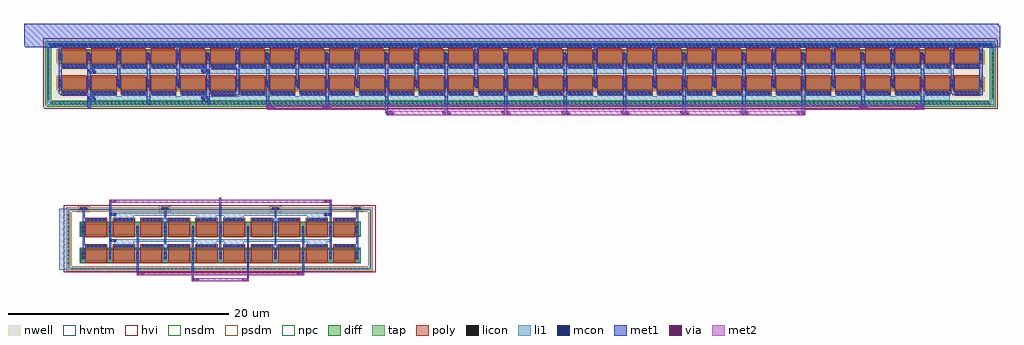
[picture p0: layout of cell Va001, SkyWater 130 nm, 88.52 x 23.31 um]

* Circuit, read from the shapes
.subckt Va001 VDD VSS
XM1 Nmos_uppper_current_mirror_2/IB VSS VSS VSS sky130_fd_pr__nfet_g5v0d10v5 w=1 l=2 m=4
XM2 Nmos_uppper_current_mirror_2/ID Nmos_uppper_current_mirror_2/IB Nmos_uppper_current_mirror_2/IB VSS sky130_fd_pr__nfet_g5v0d10v5 w=1 l=2 m=4
XM3 VSS VSS Nmos_uppper_current_mirror_2/ID VSS sky130_fd_pr__nfet_g5v0d10v5 w=1 l=2 m=4
XM4 Nmos_uppper_current_mirror_2/IC VSS VSS VSS sky130_fd_pr__nfet_g5v0d10v5 w=1 l=2 m=4
XM5 Nmos_uppper_current_mirror_2/IA Nmos_uppper_current_mirror_2/IB Nmos_uppper_current_mirror_2/IC VSS sky130_fd_pr__nfet_g5v0d10v5 w=1 l=2 m=4
XM6 Pmos_current_mirror_0/IA VDD VDD VDD sky130_fd_pr__pfet_g5v0d10v5 w=1.145 l=2.315 m=4
XM7 VDD Pmos_current_mirror_0/IA Pmos_current_mirror_0/IA VDD sky130_fd_pr__pfet_g5v0d10v5 w=1.145 l=2.315 m=4
XM8 Pmos_current_mirror_0/IB Pmos_current_mirror_0/IA VDD VDD sky130_fd_pr__pfet_g5v0d10v5 w=1.145 l=2.315 m=4
XM9 Pmos_current_mirror_0/IC Pmos_current_mirror_0/IA VDD VDD sky130_fd_pr__pfet_g5v0d10v5 w=1.145 l=2.315 m=16
XM10 Pmos_current_mirror_0/ID Pmos_current_mirror_0/IA VDD VDD sky130_fd_pr__pfet_g5v0d10v5 w=1.145 l=2.315 m=32
XM11 VDD VDD VDD VDD sky130_fd_pr__pfet_g5v0d10v5 w=1.145 l=2.315 m=2
.ends

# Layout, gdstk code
from math import pi, radians
import gdstk
lib = gdstk.Library(unit=1e-6, precision=1e-09)
def R(c, l, rs):  # rectangles x0, y0, x1, y1
    for r in rs: c.add(gdstk.rectangle(r[:2], r[2:], *l))
def A(c, l, x, y, w, h, nx, ny, dx, dy):  # array of equal rectangles
    R(c, l, [(x+i*dx, y+j*dy, x+i*dx+w, y+j*dy+h) for i in range(nx) for j in range(ny)])
def P(c, l, *ps):  # polygons
    for p in ps: c.add(gdstk.Polygon(p, *l))
nwell = (64, 20)
diff = (65, 20)
tap = (65, 44)
poly = (66, 20)
licon = (66, 44)
li1 = (67, 20)
mcon = (67, 44)
met1 = (68, 20)
via = (68, 44)
met2 = (69, 20)
hvi = (75, 20)
nsdm = (93, 44)
psdm = (94, 20)
npc = (95, 20)
hvntm = (125, 20)

vias_gen = lib.new_cell('vias_gen')
R(vias_gen, li1, [(0,0,0.66,0.26)])
R(vias_gen, mcon, [(0.065,0.045,0.235,0.215), (0.425,0.045,0.595,0.215)])
R(vias_gen, met1, [(0,0,0.66,0.26)])

pfet = lib.new_cell('pfet')
R(pfet, nwell, [(-0.465,-0.88,84.265,1.54)])
R(pfet, diff, [(0,0,83.8,1)])
A(pfet, poly, 0.3, -0.53, 2.2, 0.33, 31, 1, 2.7, 0)
A(pfet, poly, 0.3, -0.2, 2.2, 1.4, 31, 1, 2.7, 0)
A(pfet, licon, 0.415, -0.45, 0.17, 0.17, 6, 1, 0.36, 0)
A(pfet, licon, 3.115, -0.45, 0.17, 0.17, 6, 1, 0.36, 0)
A(pfet, licon, 5.815, -0.45, 0.17, 0.17, 6, 1, 0.36, 0)
A(pfet, licon, 8.515, -0.45, 0.17, 0.17, 6, 1, 0.36, 0)
A(pfet, licon, 11.215, -0.45, 0.17, 0.17, 6, 1, 0.36, 0)
A(pfet, licon, 13.915, -0.45, 0.17, 0.17, 6, 1, 0.36, 0)
A(pfet, licon, 16.615, -0.45, 0.17, 0.17, 6, 1, 0.36, 0)
A(pfet, licon, 19.315, -0.45, 0.17, 0.17, 6, 1, 0.36, 0)
A(pfet, licon, 22.015, -0.45, 0.17, 0.17, 6, 1, 0.36, 0)
A(pfet, licon, 24.715, -0.45, 0.17, 0.17, 6, 1, 0.36, 0)
A(pfet, licon, 27.415, -0.45, 0.17, 0.17, 6, 1, 0.36, 0)
A(pfet, licon, 30.115, -0.45, 0.17, 0.17, 6, 1, 0.36, 0)
A(pfet, licon, 32.815, -0.45, 0.17, 0.17, 6, 1, 0.36, 0)
A(pfet, licon, 35.515, -0.45, 0.17, 0.17, 6, 1, 0.36, 0)
A(pfet, licon, 38.215, -0.45, 0.17, 0.17, 6, 1, 0.36, 0)
A(pfet, licon, 40.915, -0.45, 0.17, 0.17, 6, 1, 0.36, 0)
A(pfet, licon, 43.615, -0.45, 0.17, 0.17, 6, 1, 0.36, 0)
A(pfet, licon, 46.315, -0.45, 0.17, 0.17, 6, 1, 0.36, 0)
A(pfet, licon, 49.015, -0.45, 0.17, 0.17, 6, 1, 0.36, 0)
A(pfet, licon, 51.715, -0.45, 0.17, 0.17, 6, 1, 0.36, 0)
A(pfet, licon, 54.415, -0.45, 0.17, 0.17, 6, 1, 0.36, 0)
A(pfet, licon, 57.115, -0.45, 0.17, 0.17, 6, 1, 0.36, 0)
A(pfet, licon, 59.815, -0.45, 0.17, 0.17, 6, 1, 0.36, 0)
A(pfet, licon, 62.515, -0.45, 0.17, 0.17, 6, 1, 0.36, 0)
A(pfet, licon, 65.215, -0.45, 0.17, 0.17, 6, 1, 0.36, 0)
A(pfet, licon, 67.915, -0.45, 0.17, 0.17, 6, 1, 0.36, 0)
A(pfet, licon, 70.615, -0.45, 0.17, 0.17, 6, 1, 0.36, 0)
A(pfet, licon, 73.315, -0.45, 0.17, 0.17, 6, 1, 0.36, 0)
A(pfet, licon, 76.015, -0.45, 0.17, 0.17, 6, 1, 0.36, 0)
A(pfet, licon, 78.715, -0.45, 0.17, 0.17, 6, 1, 0.36, 0)
A(pfet, licon, 81.415, -0.45, 0.17, 0.17, 6, 1, 0.36, 0)
A(pfet, licon, 2.665, 0.235, 0.17, 0.17, 30, 2, 2.7, 0.36)
R(pfet, licon, [(0.065,0.235,0.235,0.405), (83.565,0.235,83.735,0.405), (0.065,0.595,0.235,0.765), (83.565,0.595,83.735,0.765)])
A(pfet, li1, 0.335, -0.45, 2.13, 0.17, 31, 1, 2.7, 0)
A(pfet, li1, 2.665, 0.155, 0.17, 0.69, 30, 1, 2.7, 0)
R(pfet, li1, [(0.065,0.155,0.235,0.845), (83.565,0.155,83.735,0.845)])
A(pfet, mcon, 0.415, -0.45, 0.17, 0.17, 6, 1, 0.36, 0)
A(pfet, mcon, 3.115, -0.45, 0.17, 0.17, 6, 1, 0.36, 0)
A(pfet, mcon, 5.815, -0.45, 0.17, 0.17, 6, 1, 0.36, 0)
A(pfet, mcon, 8.515, -0.45, 0.17, 0.17, 6, 1, 0.36, 0)
A(pfet, mcon, 11.215, -0.45, 0.17, 0.17, 6, 1, 0.36, 0)
A(pfet, mcon, 13.915, -0.45, 0.17, 0.17, 6, 1, 0.36, 0)
A(pfet, mcon, 16.615, -0.45, 0.17, 0.17, 6, 1, 0.36, 0)
A(pfet, mcon, 19.315, -0.45, 0.17, 0.17, 6, 1, 0.36, 0)
A(pfet, mcon, 22.015, -0.45, 0.17, 0.17, 6, 1, 0.36, 0)
A(pfet, mcon, 24.715, -0.45, 0.17, 0.17, 6, 1, 0.36, 0)
A(pfet, mcon, 27.415, -0.45, 0.17, 0.17, 6, 1, 0.36, 0)
A(pfet, mcon, 30.115, -0.45, 0.17, 0.17, 6, 1, 0.36, 0)
A(pfet, mcon, 32.815, -0.45, 0.17, 0.17, 6, 1, 0.36, 0)
A(pfet, mcon, 35.515, -0.45, 0.17, 0.17, 6, 1, 0.36, 0)
A(pfet, mcon, 38.215, -0.45, 0.17, 0.17, 6, 1, 0.36, 0)
A(pfet, mcon, 40.915, -0.45, 0.17, 0.17, 6, 1, 0.36, 0)
A(pfet, mcon, 43.615, -0.45, 0.17, 0.17, 6, 1, 0.36, 0)
A(pfet, mcon, 46.315, -0.45, 0.17, 0.17, 6, 1, 0.36, 0)
A(pfet, mcon, 49.015, -0.45, 0.17, 0.17, 6, 1, 0.36, 0)
A(pfet, mcon, 51.715, -0.45, 0.17, 0.17, 6, 1, 0.36, 0)
A(pfet, mcon, 54.415, -0.45, 0.17, 0.17, 6, 1, 0.36, 0)
A(pfet, mcon, 57.115, -0.45, 0.17, 0.17, 6, 1, 0.36, 0)
A(pfet, mcon, 59.815, -0.45, 0.17, 0.17, 6, 1, 0.36, 0)
A(pfet, mcon, 62.515, -0.45, 0.17, 0.17, 6, 1, 0.36, 0)
A(pfet, mcon, 65.215, -0.45, 0.17, 0.17, 6, 1, 0.36, 0)
A(pfet, mcon, 67.915, -0.45, 0.17, 0.17, 6, 1, 0.36, 0)
A(pfet, mcon, 70.615, -0.45, 0.17, 0.17, 6, 1, 0.36, 0)
A(pfet, mcon, 73.315, -0.45, 0.17, 0.17, 6, 1, 0.36, 0)
A(pfet, mcon, 76.015, -0.45, 0.17, 0.17, 6, 1, 0.36, 0)
A(pfet, mcon, 78.715, -0.45, 0.17, 0.17, 6, 1, 0.36, 0)
A(pfet, mcon, 81.415, -0.45, 0.17, 0.17, 6, 1, 0.36, 0)
A(pfet, mcon, 2.665, 0.235, 0.17, 0.17, 30, 2, 2.7, 0.36)
R(pfet, mcon, [(0.065,0.235,0.235,0.405), (83.565,0.235,83.735,0.405), (0.065,0.595,0.235,0.765), (83.565,0.595,83.735,0.765)])
A(pfet, met1, 0.355, -0.48, 2.09, 0.23, 31, 1, 2.7, 0)
A(pfet, met1, 2.635, 0.175, 0.23, 0.65, 30, 1, 2.7, 0)
R(pfet, met1, [(0.035,0.175,0.265,0.825), (83.535,0.175,83.765,0.825)])
R(pfet, hvi, [(-0.465,-0.88,84.265,1.54)])
R(pfet, psdm, [(-0.125,-0.125,83.925,1.125)])
A(pfet, npc, 0.29, -0.54, 2.22, 0.35, 31, 1, 2.7, 0)

guard_ring_gen = lib.new_cell('guard_ring_gen')
P(guard_ring_gen, tap, [(-0.17,-0.17),(-0.17,5.2),(0,5.2),(0,0),(85.5,0),(85.5,5.2),(-0.17,5.2),(-0.17,5.37),(85.67,5.37),(85.67,-0.17)])
A(guard_ring_gen, licon, 0.185, -0.17, 0.17, 0.17, 237, 2, 0.36, 5.37)
A(guard_ring_gen, licon, -0.17, 0.355, 0.17, 0.17, 1, 13, 0, 0.36)
A(guard_ring_gen, licon, 85.5, 0.355, 0.17, 0.17, 1, 13, 0, 0.36)
P(guard_ring_gen, li1, [(-0.17,-0.17),(-0.17,5.2),(0,5.2),(0,0),(85.5,0),(85.5,5.2),(-0.17,5.2),(-0.17,5.37),(85.67,5.37),(85.67,-0.17)])
P(guard_ring_gen, nsdm, [(-0.295,-0.295),(-0.295,5.075),(0.125,5.075),(0.125,0.125),(85.375,0.125),(85.375,5.075),(-0.295,5.075),(-0.295,5.495),(85.795,5.495),(85.795,-0.295)])

vias_gen_5 = lib.new_cell('vias_gen$5')
R(vias_gen_5, li1, [(0,0,85.9,0.29)])
A(vias_gen_5, mcon, 0.205, 0.06, 0.17, 0.17, 238, 1, 0.36, 0)
R(vias_gen_5, met1, [(0,0,85.9,0.29)])

vias_gen_2 = lib.new_cell('vias_gen$2')
R(vias_gen_2, met1, [(0,0,0.66,0.26)])
R(vias_gen_2, via, [(0.095,0.055,0.245,0.205), (0.415,0.055,0.565,0.205)])
R(vias_gen_2, met2, [(0,0,0.66,0.26)])

pmos_current_mirror = lib.new_cell('Pmos_current_mirror')
R(pmos_current_mirror, nwell, [(-2.005,-4.05,84.465,2.22)])
A(pmos_current_mirror, li1, 2.39, -3.305, 2.13, 0.7, 4, 2, 2.7, 2.435)
A(pmos_current_mirror, li1, 15.89, -3.305, 2.13, 0.7, 24, 2, 2.7, 2.435)
R(pmos_current_mirror, li1, [(2.025,-3.305,79.165,-3.045), (2.025,-0.87,79.165,-0.61)])
A(pmos_current_mirror, met1, 18.22, -3.44, 0.17, 1.35, 5, 1, 10.8, 0)
A(pmos_current_mirror, met1, 23.62, -3.05, 0.17, 1.35, 6, 1, 10.8, 0)
A(pmos_current_mirror, met1, 20.92, 0.275, 0.17, 1.37, 6, 1, 10.8, 0)
A(pmos_current_mirror, met1, 26.32, 0.285, 0.17, 1.37, 5, 1, 10.8, 0)
R(pmos_current_mirror, met1, [(34.42,-4.55,34.59,0.735), (45.22,-4.52,45.39,0.735), (50.62,-4.52,50.79,0.345), (61.42,-4.5,61.59,0.345), (29.02,-4.49,29.19,0.345), (56.02,-4.49,56.19,0.735), (66.82,-4.48,66.99,0.735), (39.82,-4.465,39.99,0.345), (18.22,-4.125,18.39,0.345), (77.62,-4.125,77.79,0.735), (23.62,-4.09,23.79,0.735), (2.02,-4.03,2.19,0.34), (72.22,-4.015,72.39,-2.09), (7.42,-3.66,7.59,0.875), (12.82,-3.615,12.99,0.34), (7.42,-3.44,7.59,-1.56), (72.22,-3.44,72.39,0.345), (2.02,-3.425,2.19,-2.095), (12.82,-3.425,12.99,-2.095), (-0.58,-2.805,-0.29,-2.575), (-0.58,-2.805,-0.41,1.86), (15.3,-2.805,15.69,-2.575), (80.32,-2.805,80.71,-2.575), (82.8,-2.805,83.09,-2.575), (82.92,-2.775,83.09,1.605), (15.52,-2.74,15.69,1.965), (80.32,-2.715,80.49,1.655), (20.92,-2.16,21.09,1.83), (31.72,-2.16,31.89,1.765), (42.52,-2.16,42.69,1.725), (53.32,-2.16,53.49,1.77), (64.12,-2.16,64.29,1.68), (74.92,-2.16,75.09,1.625), (26.32,-2.15,26.49,1.73), (37.12,-2.15,37.29,1.915), (47.92,-2.15,48.09,1.7), (58.72,-2.15,58.89,1.655), (69.52,-2.15,69.69,1.655), (4.72,-2.09,4.89,1.855), (10.12,-2.055,10.29,1.775), (-0.58,-0.37,-0.29,-0.14), (-0.58,-0.37,-0.41,0.34), (15.3,-0.37,15.69,-0.14), (80.32,-0.37,80.71,-0.14), (82.8,-0.37,83.09,-0.14), (82.92,-0.34,83.09,1.595), (15.52,-0.305,15.69,1.745), (80.32,-0.28,80.49,1.655), (4.72,0.345,4.89,1.5), (10.12,0.38,10.29,1.535), (-3.73,1.52,84.67,3.505)])
R(pmos_current_mirror, met2, [(29.25,-4.61,66.925,-4.35), (18.88,-4.125,77.76,-3.865)])
R(pmos_current_mirror, hvi, [(-2.005,-4.05,84.465,2.22)])
pmos_current_mirror.add(gdstk.Reference(vias_gen, (2.02,-0.87)))
pmos_current_mirror.add(gdstk.Reference(vias_gen, (12.99,-0.87), rotation=pi, x_reflection=True))
pmos_current_mirror.add(gdstk.Reference(pfet, (-0.645,0.11)))
pmos_current_mirror.add(gdstk.Reference(vias_gen, (2.02,-3.305)))
pmos_current_mirror.add(gdstk.Reference(vias_gen, (12.99,-3.305), rotation=pi, x_reflection=True))
pmos_current_mirror.add(gdstk.Reference(pfet, (-0.645,-2.325)))
pmos_current_mirror.add(gdstk.Reference(guard_ring_gen, (-1.5,-3.57)))
pmos_current_mirror.add(gdstk.Reference(vias_gen_5, (-1.67,1.51)))
pmos_current_mirror.add(gdstk.Reference(vias_gen_2, (18.22,-4.125)))
pmos_current_mirror.add(gdstk.Reference(vias_gen_2, (23.375,-4.125)))
pmos_current_mirror.add(gdstk.Reference(vias_gen_2, (71.975,-4.125)))
pmos_current_mirror.add(gdstk.Reference(vias_gen_2, (77.13,-4.125)))
pmos_current_mirror.add(gdstk.Reference(vias_gen_2, (66.33,-4.61)))
pmos_current_mirror.add(gdstk.Reference(vias_gen_2, (55.78,-4.61)))
pmos_current_mirror.add(gdstk.Reference(vias_gen_2, (50.375,-4.61)))
pmos_current_mirror.add(gdstk.Reference(vias_gen_2, (44.98,-4.61)))
pmos_current_mirror.add(gdstk.Reference(vias_gen_2, (39.575,-4.61)))
pmos_current_mirror.add(gdstk.Reference(vias_gen_2, (29.02,-4.61)))
pmos_current_mirror.add(gdstk.Reference(vias_gen_2, (61.175,-4.605)))
pmos_current_mirror.add(gdstk.Reference(vias_gen_2, (34.18,-4.61)))
pmos_current_mirror.add(gdstk.Label('M4', (73.29,0.44), layer=68, texttype=25))
pmos_current_mirror.add(gdstk.Label('M4', (76.01,0.47), layer=68, texttype=25))
pmos_current_mirror.add(gdstk.Label('M4', (78.805,0.39), layer=68, texttype=25))
pmos_current_mirror.add(gdstk.Label('D', (81.555,0.595), layer=68, texttype=25))
pmos_current_mirror.add(gdstk.Label('M4', (70.81,-2.02), layer=68, texttype=25))
pmos_current_mirror.add(gdstk.Label('M7', (68.03,-2.06), layer=68, texttype=25))
pmos_current_mirror.add(gdstk.Label('M7', (65.235,-1.98), layer=68, texttype=25))
pmos_current_mirror.add(gdstk.Label('M7', (62.515,-2.01), layer=68, texttype=25))
pmos_current_mirror.add(gdstk.Label('M7', (60.035,-2.035), layer=68, texttype=25))
pmos_current_mirror.add(gdstk.Label('M7', (57.21,-2.01), layer=68, texttype=25))
pmos_current_mirror.add(gdstk.Label('M7', (54.415,-1.93), layer=68, texttype=25))
pmos_current_mirror.add(gdstk.Label('M7', (51.695,-1.96), layer=68, texttype=25))
pmos_current_mirror.add(gdstk.Label('M7', (49.215,-1.985), layer=68, texttype=25))
pmos_current_mirror.add(gdstk.Label('M7', (46.485,-1.905), layer=68, texttype=25))
pmos_current_mirror.add(gdstk.Label('M7', (43.69,-1.825), layer=68, texttype=25))
pmos_current_mirror.add(gdstk.Label('M7', (40.97,-1.855), layer=68, texttype=25))
pmos_current_mirror.add(gdstk.Label('M7', (38.49,-1.88), layer=68, texttype=25))
pmos_current_mirror.add(gdstk.Label('M7', (35.635,-1.98), layer=68, texttype=25))
pmos_current_mirror.add(gdstk.Label('M7', (32.84,-1.9), layer=68, texttype=25))
pmos_current_mirror.add(gdstk.Label('M7', (30.12,-1.93), layer=68, texttype=25))
pmos_current_mirror.add(gdstk.Label('M7', (27.64,-1.955), layer=68, texttype=25))
pmos_current_mirror.add(gdstk.Label('M4', (24.805,-1.925), layer=68, texttype=25))
pmos_current_mirror.add(gdstk.Label('M4', (22.01,-1.845), layer=68, texttype=25))
pmos_current_mirror.add(gdstk.Label('M4', (19.29,-1.875), layer=68, texttype=25))
pmos_current_mirror.add(gdstk.Label('M4', (16.81,-1.9), layer=68, texttype=25))
pmos_current_mirror.add(gdstk.Label('D', (13.98,-1.905), layer=68, texttype=25))
pmos_current_mirror.add(gdstk.Label('M3', (11.465,-1.99), layer=68, texttype=25))
pmos_current_mirror.add(gdstk.Label('M2', (8.67,-1.91), layer=68, texttype=25))
pmos_current_mirror.add(gdstk.Label('M2', (5.95,-1.94), layer=68, texttype=25))
pmos_current_mirror.add(gdstk.Label('M3', (3.47,-1.965), layer=68, texttype=25))
pmos_current_mirror.add(gdstk.Label('D', (0.47,-1.99), layer=68, texttype=25))
pmos_current_mirror.add(gdstk.Label('M4', (73.29,-1.995), layer=68, texttype=25))
pmos_current_mirror.add(gdstk.Label('M4', (76.01,-1.965), layer=68, texttype=25))
pmos_current_mirror.add(gdstk.Label('M4', (78.805,-2.045), layer=68, texttype=25))
pmos_current_mirror.add(gdstk.Label('D', (81.555,-1.84), layer=68, texttype=25))
pmos_current_mirror.add(gdstk.Label('M4', (70.81,0.415), layer=68, texttype=25))
pmos_current_mirror.add(gdstk.Label('M7', (68.03,0.375), layer=68, texttype=25))
pmos_current_mirror.add(gdstk.Label('M7', (65.235,0.455), layer=68, texttype=25))
pmos_current_mirror.add(gdstk.Label('M7', (62.515,0.425), layer=68, texttype=25))
pmos_current_mirror.add(gdstk.Label('M7', (60.035,0.4), layer=68, texttype=25))
pmos_current_mirror.add(gdstk.Label('M7', (57.21,0.425), layer=68, texttype=25))
pmos_current_mirror.add(gdstk.Label('M7', (54.415,0.505), layer=68, texttype=25))
pmos_current_mirror.add(gdstk.Label('M7', (51.695,0.475), layer=68, texttype=25))
pmos_current_mirror.add(gdstk.Label('M7', (49.215,0.45), layer=68, texttype=25))
pmos_current_mirror.add(gdstk.Label('M7', (46.485,0.53), layer=68, texttype=25))
pmos_current_mirror.add(gdstk.Label('M7', (43.69,0.61), layer=68, texttype=25))
pmos_current_mirror.add(gdstk.Label('M7', (40.97,0.58), layer=68, texttype=25))
pmos_current_mirror.add(gdstk.Label('M7', (38.49,0.555), layer=68, texttype=25))
pmos_current_mirror.add(gdstk.Label('M7', (35.635,0.455), layer=68, texttype=25))
pmos_current_mirror.add(gdstk.Label('M7', (32.84,0.535), layer=68, texttype=25))
pmos_current_mirror.add(gdstk.Label('M7', (30.12,0.505), layer=68, texttype=25))
pmos_current_mirror.add(gdstk.Label('M7', (27.64,0.48), layer=68, texttype=25))
pmos_current_mirror.add(gdstk.Label('M4', (24.805,0.51), layer=68, texttype=25))
pmos_current_mirror.add(gdstk.Label('M4', (22.01,0.59), layer=68, texttype=25))
pmos_current_mirror.add(gdstk.Label('M4', (19.29,0.56), layer=68, texttype=25))
pmos_current_mirror.add(gdstk.Label('M4', (16.81,0.535), layer=68, texttype=25))
pmos_current_mirror.add(gdstk.Label('D', (13.98,0.53), layer=68, texttype=25))
pmos_current_mirror.add(gdstk.Label('M3', (11.465,0.445), layer=68, texttype=25))
pmos_current_mirror.add(gdstk.Label('M2', (8.67,0.525), layer=68, texttype=25))
pmos_current_mirror.add(gdstk.Label('M2', (5.95,0.495), layer=68, texttype=25))
pmos_current_mirror.add(gdstk.Label('M3', (3.47,0.47), layer=68, texttype=25))
pmos_current_mirror.add(gdstk.Label('D', (0.47,0.445), layer=68, texttype=25))
pmos_current_mirror.add(gdstk.Label('IB', (7.455,-3.515), layer=68, texttype=16))
pmos_current_mirror.add(gdstk.Label('IA', (2.14,-3.985), layer=68, texttype=16))
pmos_current_mirror.add(gdstk.Label('VDD', (-3.23,2.7), layer=68, texttype=16))
pmos_current_mirror.add(gdstk.Label('ID', (35.87,-4.475), layer=69, texttype=16))
pmos_current_mirror.add(gdstk.Label('IC', (19.54,-4.025), layer=69, texttype=16))

nfet = lib.new_cell('nfet')
R(nfet, diff, [(0,0,25.1,1)])
A(nfet, poly, 0.3, -0.2, 2, 1.4, 10, 1, 2.5, 0)
A(nfet, poly, 0.3, 1.2, 2, 0.33, 10, 1, 2.5, 0)
A(nfet, licon, 2.465, 0.235, 0.17, 0.17, 9, 2, 2.5, 0.36)
A(nfet, licon, 0.495, 1.28, 0.17, 0.17, 5, 1, 0.36, 0)
A(nfet, licon, 2.995, 1.28, 0.17, 0.17, 5, 1, 0.36, 0)
A(nfet, licon, 5.495, 1.28, 0.17, 0.17, 5, 1, 0.36, 0)
A(nfet, licon, 7.995, 1.28, 0.17, 0.17, 5, 1, 0.36, 0)
A(nfet, licon, 10.495, 1.28, 0.17, 0.17, 5, 1, 0.36, 0)
A(nfet, licon, 12.995, 1.28, 0.17, 0.17, 5, 1, 0.36, 0)
A(nfet, licon, 15.495, 1.28, 0.17, 0.17, 5, 1, 0.36, 0)
A(nfet, licon, 17.995, 1.28, 0.17, 0.17, 5, 1, 0.36, 0)
A(nfet, licon, 20.495, 1.28, 0.17, 0.17, 5, 1, 0.36, 0)
A(nfet, licon, 22.995, 1.28, 0.17, 0.17, 5, 1, 0.36, 0)
R(nfet, licon, [(0.065,0.235,0.235,0.405), (24.865,0.235,25.035,0.405), (0.065,0.595,0.235,0.765), (24.865,0.595,25.035,0.765)])
A(nfet, li1, 2.465, 0.155, 0.17, 0.69, 9, 1, 2.5, 0)
A(nfet, li1, 0.415, 1.28, 1.77, 0.17, 10, 1, 2.5, 0)
R(nfet, li1, [(0.065,0.155,0.235,0.845), (24.865,0.155,25.035,0.845)])
A(nfet, mcon, 2.465, 0.235, 0.17, 0.17, 9, 2, 2.5, 0.36)
A(nfet, mcon, 0.495, 1.28, 0.17, 0.17, 5, 1, 0.36, 0)
A(nfet, mcon, 2.995, 1.28, 0.17, 0.17, 5, 1, 0.36, 0)
A(nfet, mcon, 5.495, 1.28, 0.17, 0.17, 5, 1, 0.36, 0)
A(nfet, mcon, 7.995, 1.28, 0.17, 0.17, 5, 1, 0.36, 0)
A(nfet, mcon, 10.495, 1.28, 0.17, 0.17, 5, 1, 0.36, 0)
A(nfet, mcon, 12.995, 1.28, 0.17, 0.17, 5, 1, 0.36, 0)
A(nfet, mcon, 15.495, 1.28, 0.17, 0.17, 5, 1, 0.36, 0)
A(nfet, mcon, 17.995, 1.28, 0.17, 0.17, 5, 1, 0.36, 0)
A(nfet, mcon, 20.495, 1.28, 0.17, 0.17, 5, 1, 0.36, 0)
A(nfet, mcon, 22.995, 1.28, 0.17, 0.17, 5, 1, 0.36, 0)
R(nfet, mcon, [(0.065,0.235,0.235,0.405), (24.865,0.235,25.035,0.405), (0.065,0.595,0.235,0.765), (24.865,0.595,25.035,0.765)])
A(nfet, met1, 2.435, 0.175, 0.23, 0.65, 9, 1, 2.5, 0)
A(nfet, met1, 0.435, 1.25, 1.73, 0.23, 10, 1, 2.5, 0)
R(nfet, met1, [(0.035,0.175,0.265,0.825), (24.835,0.175,25.065,0.825)])
R(nfet, hvi, [(-0.37,-0.385,25.47,1.725)])
R(nfet, nsdm, [(-0.125,-0.125,25.225,1.125)])
A(nfet, npc, 0.29, 1.19, 2.02, 0.35, 10, 1, 2.5, 0)
R(nfet, hvntm, [(-0.185,-0.185,25.285,1.185)])

guard_ring_gen_2 = lib.new_cell('guard_ring_gen$2')
P(guard_ring_gen_2, tap, [(-0.17,-0.17),(-0.17,5.2),(0,5.2),(0,0),(27.2,0),(27.2,5.2),(-0.17,5.2),(-0.17,5.37),(27.37,5.37),(27.37,-0.17)])
A(guard_ring_gen_2, licon, 0.195, -0.17, 0.17, 0.17, 75, 2, 0.36, 5.37)
A(guard_ring_gen_2, licon, -0.17, 0.355, 0.17, 0.17, 1, 13, 0, 0.36)
A(guard_ring_gen_2, licon, 27.2, 0.355, 0.17, 0.17, 1, 13, 0, 0.36)
P(guard_ring_gen_2, li1, [(-0.17,-0.17),(-0.17,5.2),(0,5.2),(0,0),(27.2,0),(27.2,5.2),(-0.17,5.2),(-0.17,5.37),(27.37,5.37),(27.37,-0.17)])
P(guard_ring_gen_2, psdm, [(-0.295,-0.295),(-0.295,5.075),(0.125,5.075),(0.125,0.125),(27.075,0.125),(27.075,5.075),(-0.295,5.075),(-0.295,5.495),(27.495,5.495),(27.495,-0.295)])

vias_gen_3 = lib.new_cell('vias_gen$3')
R(vias_gen_3, nwell, [(-0.18,-0.18,0.84,0.47)])
R(vias_gen_3, diff, [(0,0,0.66,0.29)])
R(vias_gen_3, licon, [(0.245,0.06,0.415,0.23)])
R(vias_gen_3, li1, [(0,0,0.66,0.29)])
R(vias_gen_3, mcon, [(0.065,0.06,0.235,0.23), (0.425,0.06,0.595,0.23)])
R(vias_gen_3, met1, [(0,0,0.66,0.29)])
R(vias_gen_3, psdm, [(-0.125,-0.125,0.785,0.415)])

nmos_uppper_current_mirr = lib.new_cell('Nmos_uppper_current_mirror')
R(nmos_uppper_current_mirr, li1, [(-23.005,0.045,-22.23,5.585), (-18.025,2.285,-16.255,2.825), (-10.525,2.285,-8.755,2.825), (-8.025,2.285,-6.255,2.825), (-0.525,2.285,1.245,2.825), (-17.815,2.565,1.685,2.825), (-18.025,4.655,-16.255,5.195), (-10.525,4.655,-8.755,5.195), (-8.025,4.655,-6.255,5.195), (-0.525,4.655,1.245,5.195), (-17.815,4.935,1.685,5.195)])
R(nmos_uppper_current_mirr, met1, [(-5.975,-0.865,-5.805,3.985), (-10.975,-0.82,-10.805,3.97), (-15.975,-0.48,-15.805,4.03), (-0.975,-0.48,-0.805,3.975), (-10.975,0.45,-10.805,1.6), (-5.975,0.45,-5.805,1.6), (-0.975,0.455,-0.805,1.605), (-15.975,0.51,-15.805,1.66), (-13.475,1.355,-13.305,5.475), (-8.475,1.37,-8.305,6.575), (-3.475,1.415,-3.305,5.585), (-18.475,1.575,-18.305,6.395), (1.525,1.58,1.695,4.33), (-20.875,1.605,-20.705,5.46), (3.925,1.605,4.095,5.5), (-20.875,2.085,-20.505,2.315), (-13.775,2.085,-12.75,2.315), (-3.775,2.085,-3.005,2.315), (3.725,2.085,4.095,2.315), (-13.475,3.725,-13.305,5.495), (-0.975,3.725,-0.805,4.05), (-8.475,3.74,-8.305,4.735), (-3.475,3.785,-3.305,4.935), (-18.475,3.945,-18.305,5.095), (1.525,3.95,1.695,6.395), (-20.875,3.975,-20.705,5.125), (3.925,3.975,4.095,5.125), (-20.875,4.455,-20.505,4.685), (-13.775,4.455,-12.75,4.685), (-3.775,4.455,-3.005,4.685), (3.725,4.455,4.095,4.685)])
R(nmos_uppper_current_mirr, met2, [(-10.325,-0.98,-5.805,-0.72), (-15.315,-0.48,-0.805,-0.22), (-17.815,6.135,1.695,6.395)])
R(nmos_uppper_current_mirr, hvi, [(-22.605,-0.17,5.715,5.905)])
nmos_uppper_current_mirr.add(gdstk.Reference(nfet, (-20.94,3.205)))
nmos_uppper_current_mirr.add(gdstk.Reference(vias_gen, (-18.475,4.935)))
nmos_uppper_current_mirr.add(gdstk.Reference(nfet, (-20.94,0.835)))
nmos_uppper_current_mirr.add(gdstk.Reference(vias_gen, (-18.475,2.565)))
nmos_uppper_current_mirr.add(gdstk.Reference(guard_ring_gen_2, (-22.06,0.215)))
nmos_uppper_current_mirr.add(gdstk.Reference(vias_gen, (1.035,4.935)))
nmos_uppper_current_mirr.add(gdstk.Reference(vias_gen_3, (3.685,5.415)))
nmos_uppper_current_mirr.add(gdstk.Reference(vias_gen_3, (-13.745,5.415)))
nmos_uppper_current_mirr.add(gdstk.Reference(vias_gen_3, (-3.72,5.415)))
nmos_uppper_current_mirr.add(gdstk.Reference(vias_gen_2, (-18.475,6.135)))
nmos_uppper_current_mirr.add(gdstk.Reference(vias_gen_3, (-21.125,5.415)))
nmos_uppper_current_mirr.add(gdstk.Reference(vias_gen_2, (1.035,6.135)))
nmos_uppper_current_mirr.add(gdstk.Reference(vias_gen_2, (-15.975,-0.48)))
nmos_uppper_current_mirr.add(gdstk.Reference(vias_gen_2, (-1.465,-0.48)))
nmos_uppper_current_mirr.add(gdstk.Reference(vias_gen_2, (-10.975,-0.98)))
nmos_uppper_current_mirr.add(gdstk.Reference(vias_gen_2, (-6.465,-0.98)))
nmos_uppper_current_mirr.add(gdstk.Label('D', (2.8,3.425), layer=68, texttype=25))
nmos_uppper_current_mirr.add(gdstk.Label('M10', (0.115,3.625), layer=68, texttype=25))
nmos_uppper_current_mirr.add(gdstk.Label('D', (-2.455,3.68), layer=68, texttype=25))
nmos_uppper_current_mirr.add(gdstk.Label('D', (-4.715,3.655), layer=68, texttype=25))
nmos_uppper_current_mirr.add(gdstk.Label('M9', (-7.47,3.575), layer=68, texttype=25))
nmos_uppper_current_mirr.add(gdstk.Label('M9', (-9.695,3.675), layer=68, texttype=25))
nmos_uppper_current_mirr.add(gdstk.Label('D', (-12.27,3.585), layer=68, texttype=25))
nmos_uppper_current_mirr.add(gdstk.Label('D', (-14.53,3.56), layer=68, texttype=25))
nmos_uppper_current_mirr.add(gdstk.Label('M10', (-17.16,3.62), layer=68, texttype=25))
nmos_uppper_current_mirr.add(gdstk.Label('D', (-19.805,3.655), layer=68, texttype=25))
nmos_uppper_current_mirr.add(gdstk.Label('D', (2.8,1.055), layer=68, texttype=25))
nmos_uppper_current_mirr.add(gdstk.Label('M10', (0.115,1.255), layer=68, texttype=25))
nmos_uppper_current_mirr.add(gdstk.Label('D', (-2.455,1.31), layer=68, texttype=25))
nmos_uppper_current_mirr.add(gdstk.Label('D', (-4.715,1.285), layer=68, texttype=25))
nmos_uppper_current_mirr.add(gdstk.Label('M9', (-7.47,1.205), layer=68, texttype=25))
nmos_uppper_current_mirr.add(gdstk.Label('M9', (-9.695,1.305), layer=68, texttype=25))
nmos_uppper_current_mirr.add(gdstk.Label('D', (-12.27,1.215), layer=68, texttype=25))
nmos_uppper_current_mirr.add(gdstk.Label('D', (-14.53,1.19), layer=68, texttype=25))
nmos_uppper_current_mirr.add(gdstk.Label('M10', (-17.16,1.25), layer=68, texttype=25))
nmos_uppper_current_mirr.add(gdstk.Label('D', (-19.805,1.285), layer=68, texttype=25))
nmos_uppper_current_mirr.add(gdstk.Label('IA', (-8.405,6.495), layer=68, texttype=16))
nmos_uppper_current_mirr.add(gdstk.Label('IB', (-13.22,6.205), layer=69, texttype=16))
nmos_uppper_current_mirr.add(gdstk.Label('IC', (-8.8,-0.885), layer=69, texttype=16))
nmos_uppper_current_mirr.add(gdstk.Label('ID', (-8.62,-0.355), layer=69, texttype=16))
nmos_uppper_current_mirr.add(gdstk.Label('VSS', (-22.73,3.99), layer=67, texttype=16))

va001 = lib.new_cell('Va001')
va001.add(gdstk.Reference(pmos_current_mirror, (-0.39,0.13)))
va001.add(gdstk.Reference(pmos_current_mirror, (-0.275,-0.015)))
va001.add(gdstk.Reference(nmos_uppper_current_mirr, (22.08,-18.695)))

lib.write_gds('Va001.gds')
